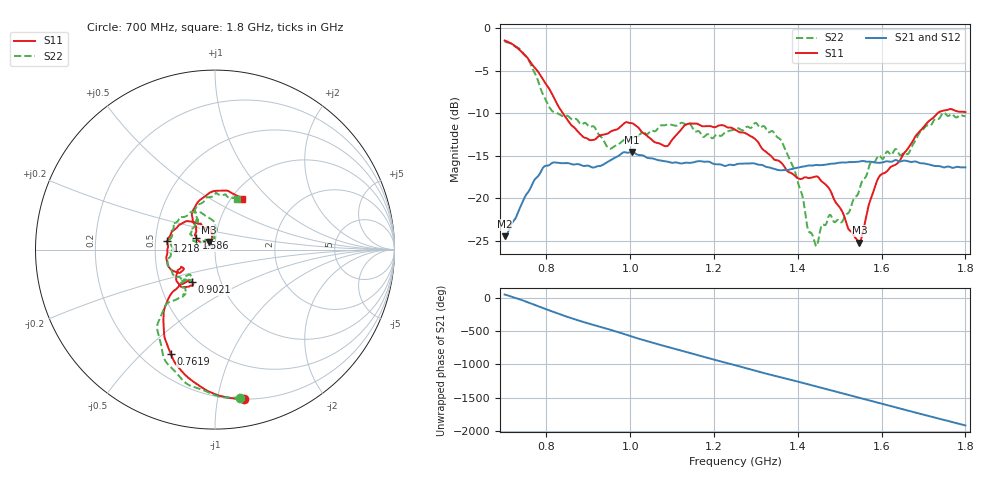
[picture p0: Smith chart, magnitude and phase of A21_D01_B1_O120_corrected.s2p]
! Created with skrf 1.9.0 (http://scikit-rf.org).
# Hz S RI R 50.0
!freq ReS11 ImS11 ReS21 ImS21 ReS12 ImS12 ReS22 ImS22
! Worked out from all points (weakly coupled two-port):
!   1601 points, 700 MHz to 1.8 GHz, reference 50 ohm
!   highest |S21| = -14.53 dB at 1.005 GHz (marker M1); lowest = -24.5 dB at 700 MHz (marker M2)
!   lowest |S11| = -25.2 dB at 1.547 GHz (marker M3), VSWR 1.12, Z = 46.5 + j4 ohm
!   |S11| at or under -10 dB: 839.3 MHz to 1.733 GHz (893.8 MHz wide, 69.5 % of centre)
!   |S22| runs from -25.6 to -1.5 dB; largest |S21 - S12| = 0.0038
!   S11 on the Smith chart (normalised r, x): 700 MHz: 0.20, -1.19; 761.9 MHz: 0.32, -0.62; 902.1 MHz: 0.73, -0.28; 1.218 GHz: 0.58, +0.06; 1.586 GHz: 0.81, +0.11; 1.8 GHz: 1.12, +0.71
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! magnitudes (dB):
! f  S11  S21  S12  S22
! 700 MHz  -1.4  -24.5  -24.2  -1.5
! 761.9 MHz  -4.0  -18.8  -18.7  -4.2
! 811.4 MHz  -7.5  -15.9  -15.8  -9.6
! 883.6 MHz  -12.6  -16.1  -16.0  -11.3
! 902.1 MHz  -13.1  -16.2  -16.2  -11.6
! 950.2 MHz  -12.2  -15.6  -15.6  -14.2
! 1.005 GHz  -11.2  -14.5  -14.7  -12.9
! 1.067 GHz  -13.5  -15.5  -15.4  -11.7
! 1.138 GHz  -11.2  -15.8  -15.8  -11.2
! 1.218 GHz  -11.4  -16.0  -16.1  -12.6
! 1.25 GHz  -11.9  -16.1  -16.0  -11.9
! 1.3 GHz  -13.1  -15.9  -15.9  -11.1
! 1.359 GHz  -15.8  -16.7  -16.7  -13.1
! 1.393 GHz  -17.3  -16.5  -16.5  -16.8
! 1.434 GHz  -17.5  -16.1  -16.1  -24.2
! 1.506 GHz  -21.5  -15.8  -15.8  -22.7
! 1.547 GHz  -25.2  -15.7  -15.6  -19.0
! 1.586 GHz  -18.3  -15.8  -15.8  -15.5
! 1.617 GHz  -16.6  -15.7  -15.6  -14.6
! 1.663 GHz  -14.1  -15.6  -15.6  -14.8
! 1.735 GHz  -9.9  -16.2  -16.3  -10.7
! 1.8 GHz  -9.9  -16.4  -16.3  -10.3
